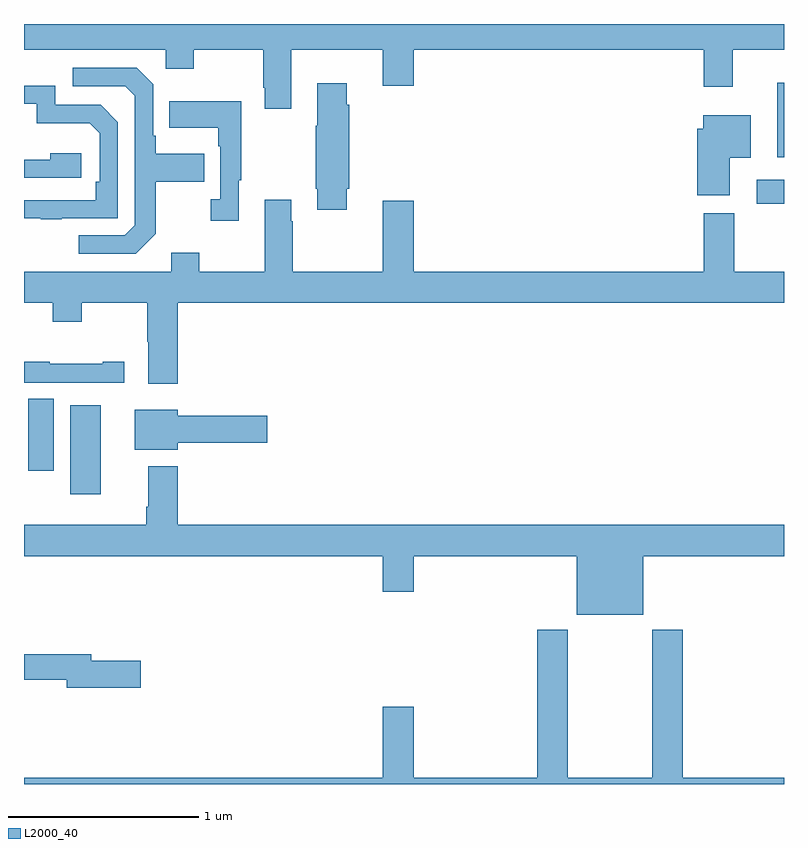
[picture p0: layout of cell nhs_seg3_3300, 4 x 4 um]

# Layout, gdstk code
import gdstk
lib = gdstk.Library(unit=1e-6, precision=1e-09)
def R(c, l, rs):  # rectangles x0, y0, x1, y1
    for r in rs: c.add(gdstk.rectangle(r[:2], r[2:], *l))
def P(c, l, *ps):  # polygons
    for p in ps: c.add(gdstk.Polygon(p, *l))
L2000_40 = (2000, 40)

nhs_seg3_3300 = lib.new_cell('nhs_seg3_3300')
R(nhs_seg3_3300, L2000_40, [(283.244,683.925,283.405,684.394), (283.022,684.048,283.156,684.428), (286.857,685.453,287,685.581), (286.964,685.7,287,686.092)])
P(nhs_seg3_3300, L2000_40, [(284.407,686.264),(284.888,686.264),(284.888,686.076),(285.052,686.076),(285.052,686.264),(286.577,686.264),(286.577,686.07),(286.729,686.07),(286.729,686.264),(287,686.264),(287,686.4),(283,686.4),(283,686.264),(283.746,686.264),(283.746,686.165),(283.893,686.165),(283.893,686.264),(284.26,686.264),(284.26,686.065),(284.267,686.065),(284.267,685.953),(284.407,685.953)],
  [(283.693,685.297),(283.693,685.57),(283.949,685.57),(283.949,685.717),(283.693,685.717),(283.693,685.813),(283.68,685.813),(283.68,686.082),(283.593,686.169),(283.257,686.169),(283.257,686.073),(283.533,686.073),(283.584,686.022),(283.584,685.341),(283.53,685.287),(283.287,685.287),(283.287,685.191),(283.587,685.191)],
  [(284.698,685.534),(284.711,685.534),(284.711,685.976),(284.698,685.976),(284.698,686.089),(284.543,686.089),(284.543,685.865),(284.536,685.865),(284.536,685.534),(284.543,685.534),(284.543,685.422),(284.698,685.422)],
  [(283.199,685.377),(283.494,685.377),(283.494,685.884),(283.404,685.974),(283.164,685.974),(283.164,686.076),(283,686.076),(283,685.98),(283.068,685.98),(283.068,685.877),(283.345,685.877),(283.398,685.824),(283.398,685.57),(283.378,685.57),(283.378,685.473),(283,685.473),(283,685.377),(283.087,685.377),(283.087,685.372),(283.199,685.372)],
  [(284.131,685.577),(284.143,685.577),(284.143,685.993),(283.765,685.993),(283.765,685.853),(284.022,685.853),(284.022,685.757),(284.034,685.757),(284.034,685.478),(283.983,685.478),(283.983,685.365),(284.131,685.365)],
  [(286.714,685.697),(286.825,685.697),(286.825,685.921),(286.574,685.921),(286.574,685.848),(286.544,685.848),(286.544,685.5),(286.714,685.5)],
  [(283.3,685.72),(283.139,685.72),(283.139,685.686),(283,685.686),(283,685.59),(283.3,685.59)],
  [(287,685.096),(286.737,685.096),(286.737,685.405),(286.577,685.405),(286.577,685.096),(285.052,685.096),(285.052,685.471),(284.888,685.471),(284.888,685.096),(284.415,685.096),(284.415,685.361),(284.407,685.361),(284.407,685.474),(284.267,685.474),(284.267,685.096),(283.923,685.096),(283.923,685.195),(283.775,685.195),(283.775,685.096),(283,685.096),(283,684.932),(283.15,684.932),(283.15,684.833),(283.305,684.833),(283.305,684.932),(283.648,684.932),(283.648,684.728),(283.655,684.728),(283.655,684.507),(283.808,684.507),(283.808,684.932),(287,684.932)],
  [(283.528,684.622),(283.415,684.622),(283.415,684.612),(283.136,684.612),(283.136,684.622),(283,684.622),(283,684.513),(283.528,684.513)],
  [(283.81,684.196),(284.281,684.196),(284.281,684.338),(283.81,684.338),(283.81,684.37),(283.583,684.37),(283.583,684.158),(283.81,684.158)],
  [(286.258,683.6),(287,683.6),(287,683.764),(283.808,683.764),(283.808,684.073),(283.655,684.073),(283.655,683.86),(283.643,683.86),(283.643,683.764),(283,683.764),(283,683.6),(284.888,683.6),(284.888,683.412),(285.052,683.412),(285.052,683.6),(285.908,683.6),(285.908,683.291),(286.258,683.291)],
  [(287,682.432),(286.466,682.432),(286.466,683.212),(286.306,683.212),(286.306,682.432),(285.861,682.432),(285.861,683.212),(285.701,683.212),(285.701,682.432),(285.052,682.432),(285.052,682.807),(284.888,682.807),(284.888,682.432),(283,682.432),(283,682.4),(287,682.4)],
  [(283.615,683.048),(283.354,683.048),(283.354,683.084),(283,683.084),(283,682.948),(283.226,682.948),(283.226,682.906),(283.615,682.906)])

lib.write_gds('nhs_seg3_3300.gds')
